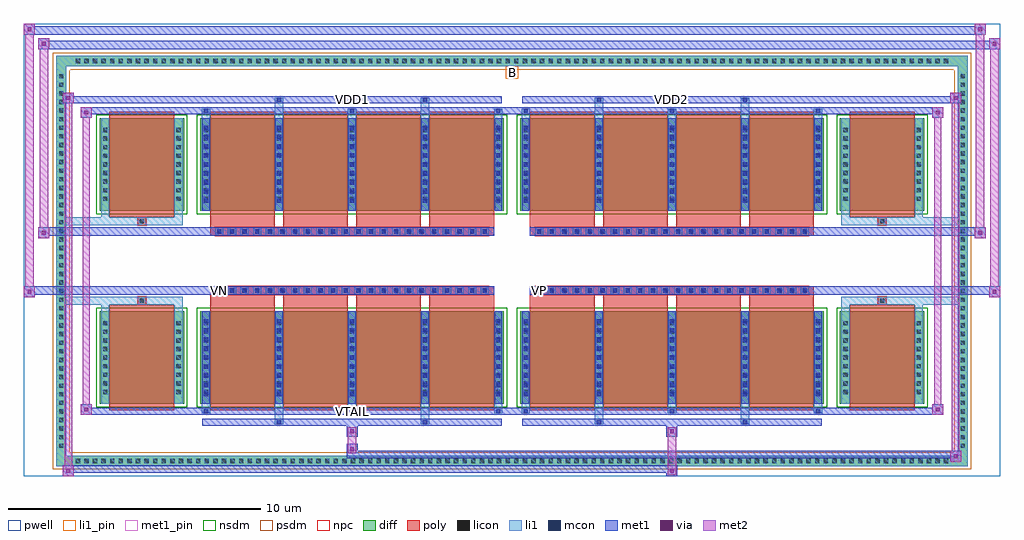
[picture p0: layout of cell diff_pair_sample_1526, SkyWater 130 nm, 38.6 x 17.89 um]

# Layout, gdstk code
import gdstk
lib = gdstk.Library(unit=1e-6, precision=5e-09)
def R(c, l, rs):  # rectangles x0, y0, x1, y1
    for r in rs: c.add(gdstk.rectangle(r[:2], r[2:], *l))
def A(c, l, x, y, w, h, nx, ny, dx, dy):  # array of equal rectangles
    R(c, l, [(x+i*dx, y+j*dy, x+i*dx+w, y+j*dy+h) for i in range(nx) for j in range(ny)])
def P(c, l, *ps):  # polygons
    for p in ps: c.add(gdstk.Polygon(p, *l))
pwell = (64, 44)
diff = (65, 20)
poly = (66, 20)
licon = (66, 44)
li1_pin = (67, 16)
li1 = (67, 20)
mcon = (67, 44)
met1_pin = (68, 16)
met1 = (68, 20)
via = (68, 44)
met2 = (69, 20)
nsdm = (93, 44)
psdm = (94, 20)
npc = (95, 20)

diff_pair_sample_1526 = lib.new_cell('diff_pair_sample_1526')
R(diff_pair_sample_1526, pwell, [(-19.3,-8.51,19.3,9.38), (-16.62,-6.7,-0.01,-0.8), (0.01,-6.7,16.62,-0.8), (-16.62,0.8,-0.01,6.7), (0.01,0.8,16.62,6.7)])
A(diff_pair_sample_1526, diff, -17.375, -8.11, 0.41, 0.41, 102, 2, 0.34, 15.81)
A(diff_pair_sample_1526, diff, -18.03, -7.515, 0.41, 0.41, 1, 44, 0, 0.34)
A(diff_pair_sample_1526, diff, 17.62, -7.515, 0.41, 0.41, 1, 44, 0, 0.34)
R(diff_pair_sample_1526, diff, [(-17.375,-8.11,17.375,-7.7), (-18.03,-7.515,-17.62,7.515), (17.62,-7.515,18.03,7.515), (-16.31,-5.655,-12.97,-1.985), (-12.33,-5.655,-0.32,-1.985), (0.32,-5.655,12.33,-1.985), (12.97,-5.655,16.31,-1.985), (-16.31,1.985,-12.97,5.655), (-12.33,1.985,-0.32,5.655), (0.32,1.985,12.33,5.655), (12.97,1.985,16.31,5.655), (-17.375,7.7,17.375,8.11)])
P(diff_pair_sample_1526, diff, [(18.03,8.11),(-18.03,8.11),(-18.03,-7.7),(-17.62,-7.7),(-17.62,7.7),(17.62,7.7),(17.62,-7.7),(-17.62,-7.7),(-18.03,-7.7),(-18.03,-8.11),(18.03,-8.11)])
A(diff_pair_sample_1526, poly, -11.94, -5.905, 2.56, 4.17, 4, 2, 2.89, 7.64)
A(diff_pair_sample_1526, poly, 0.71, -5.905, 2.56, 4.17, 4, 2, 2.89, 7.64)
A(diff_pair_sample_1526, poly, -11.94, -1.735, 2.56, 0.405, 4, 2, 2.89, 3.065)
A(diff_pair_sample_1526, poly, 0.71, -1.735, 2.56, 0.405, 4, 2, 2.89, 3.065)
A(diff_pair_sample_1526, poly, -11.74, -1.33, 0.33, 0.33, 22, 2, 0.5, 2.33)
A(diff_pair_sample_1526, poly, 0.91, -1.33, 0.33, 0.33, 22, 2, 0.5, 2.33)
R(diff_pair_sample_1526, poly, [(-15.92,-5.905,-13.36,-1.735), (13.36,-5.905,15.92,-1.735), (-14.805,-1.735,-14.475,-1.405), (-14.805,-1.735,-14.475,-1.405), (14.475,-1.735,14.805,-1.405), (14.475,-1.735,14.805,-1.405), (-11.94,-1.33,-0.71,-1), (0.71,-1.33,11.94,-1), (-11.94,1,-0.71,1.33), (0.71,1,11.94,1.33), (-14.805,1.405,-14.475,1.735), (-14.805,1.405,-14.475,1.735), (14.475,1.405,14.805,1.735), (14.475,1.405,14.805,1.735), (-15.92,1.735,-13.36,5.905), (13.36,1.735,15.92,5.905)])
A(diff_pair_sample_1526, licon, -17.255, -7.99, 0.17, 0.17, 102, 2, 0.34, 15.81)
A(diff_pair_sample_1526, licon, -17.91, -7.395, 0.17, 0.17, 1, 44, 0, 0.34)
A(diff_pair_sample_1526, licon, 17.74, -7.395, 0.17, 0.17, 1, 44, 0, 0.34)
A(diff_pair_sample_1526, licon, -16.17, -5.265, 0.17, 0.17, 1, 9, 0, 0.34)
A(diff_pair_sample_1526, licon, -13.28, -5.265, 0.17, 0.17, 1, 9, 0, 0.34)
A(diff_pair_sample_1526, licon, -12.19, -5.265, 0.17, 0.17, 5, 9, 2.89, 0.34)
A(diff_pair_sample_1526, licon, 0.46, -5.265, 0.17, 0.17, 5, 9, 2.89, 0.34)
A(diff_pair_sample_1526, licon, 13.11, -5.265, 0.17, 0.17, 1, 9, 0, 0.34)
A(diff_pair_sample_1526, licon, 16, -5.265, 0.17, 0.17, 1, 9, 0, 0.34)
A(diff_pair_sample_1526, licon, -11.66, -1.25, 0.17, 0.17, 22, 2, 0.5, 2.33)
A(diff_pair_sample_1526, licon, 0.99, -1.25, 0.17, 0.17, 22, 2, 0.5, 2.33)
A(diff_pair_sample_1526, licon, -16.17, 2.375, 0.17, 0.17, 1, 9, 0, 0.34)
A(diff_pair_sample_1526, licon, -13.28, 2.375, 0.17, 0.17, 1, 9, 0, 0.34)
A(diff_pair_sample_1526, licon, -12.19, 2.375, 0.17, 0.17, 5, 9, 2.89, 0.34)
A(diff_pair_sample_1526, licon, 0.46, 2.375, 0.17, 0.17, 5, 9, 2.89, 0.34)
A(diff_pair_sample_1526, licon, 13.11, 2.375, 0.17, 0.17, 1, 9, 0, 0.34)
A(diff_pair_sample_1526, licon, 16, 2.375, 0.17, 0.17, 1, 9, 0, 0.34)
R(diff_pair_sample_1526, licon, [(-14.725,-1.655,-14.555,-1.485), (14.555,-1.655,14.725,-1.485), (-14.725,1.485,-14.555,1.655), (14.555,1.485,14.725,1.655)])
R(diff_pair_sample_1526, li1_pin, [(-0.25,7.2,0.25,7.7)])
A(diff_pair_sample_1526, li1, -17.335, -8.07, 0.33, 0.33, 102, 2, 0.34, 15.81)
A(diff_pair_sample_1526, li1, -17.99, -7.475, 0.33, 0.33, 1, 44, 0, 0.34)
A(diff_pair_sample_1526, li1, 17.66, -7.475, 0.33, 0.33, 1, 44, 0, 0.34)
A(diff_pair_sample_1526, li1, -12.27, -6.03, 0.33, 0.375, 3, 2, 5.78, 11.685)
A(diff_pair_sample_1526, li1, -12.19, -6.03, 0.17, 0.17, 3, 2, 5.78, 11.89)
A(diff_pair_sample_1526, li1, 0.38, -6.03, 0.33, 0.375, 3, 2, 5.78, 11.685)
A(diff_pair_sample_1526, li1, 0.46, -6.03, 0.17, 0.17, 3, 2, 5.78, 11.89)
A(diff_pair_sample_1526, li1, -12.27, -5.655, 0.33, 3.67, 5, 2, 2.89, 7.64)
A(diff_pair_sample_1526, li1, 0.38, -5.655, 0.33, 3.67, 5, 2, 2.89, 7.64)
A(diff_pair_sample_1526, li1, -16.25, -5.345, 0.33, 0.33, 1, 9, 0, 0.34)
A(diff_pair_sample_1526, li1, -13.36, -5.345, 0.33, 0.33, 1, 9, 0, 0.34)
A(diff_pair_sample_1526, li1, -12.27, -5.345, 0.33, 0.33, 5, 9, 2.89, 0.34)
A(diff_pair_sample_1526, li1, -12.19, -5.345, 0.17, 0.17, 5, 9, 2.89, 0.36)
A(diff_pair_sample_1526, li1, -12.19, -5.345, 0.17, 3.05, 5, 2, 2.89, 7.64)
A(diff_pair_sample_1526, li1, 0.38, -5.345, 0.33, 0.33, 5, 9, 2.89, 0.34)
A(diff_pair_sample_1526, li1, 0.46, -5.345, 0.17, 0.17, 5, 9, 2.89, 0.36)
A(diff_pair_sample_1526, li1, 0.46, -5.345, 0.17, 3.05, 5, 2, 2.89, 7.64)
A(diff_pair_sample_1526, li1, 13.03, -5.345, 0.33, 0.33, 1, 9, 0, 0.34)
A(diff_pair_sample_1526, li1, 15.92, -5.345, 0.33, 0.33, 1, 9, 0, 0.34)
A(diff_pair_sample_1526, li1, -11.74, -1.33, 0.33, 0.33, 22, 2, 0.5, 2.33)
A(diff_pair_sample_1526, li1, 0.91, -1.33, 0.33, 0.33, 22, 2, 0.5, 2.33)
A(diff_pair_sample_1526, li1, -16.25, 2.295, 0.33, 0.33, 1, 9, 0, 0.34)
A(diff_pair_sample_1526, li1, -13.36, 2.295, 0.33, 0.33, 1, 9, 0, 0.34)
A(diff_pair_sample_1526, li1, -12.27, 2.295, 0.33, 0.33, 5, 9, 2.89, 0.34)
A(diff_pair_sample_1526, li1, -12.19, 2.295, 0.17, 0.17, 5, 9, 2.89, 0.36)
A(diff_pair_sample_1526, li1, 0.38, 2.295, 0.33, 0.33, 5, 9, 2.89, 0.34)
A(diff_pair_sample_1526, li1, 0.46, 2.295, 0.17, 0.17, 5, 9, 2.89, 0.36)
A(diff_pair_sample_1526, li1, 13.03, 2.295, 0.33, 0.33, 1, 9, 0, 0.34)
A(diff_pair_sample_1526, li1, 15.92, 2.295, 0.33, 0.33, 1, 9, 0, 0.34)
R(diff_pair_sample_1526, li1, [(-18.03,-8.11,-17.62,-7.7), (-18.03,-8.11,-17.62,-7.7), (-17.62,-8.11,17.62,-7.7), (17.62,-8.11,18.03,-7.7), (17.62,-8.11,18.03,-7.7), (-18.03,-7.7,-17.62,7.7), (17.62,-7.7,18.03,7.7), (-9.38,-6.46,-9.05,-5.655), (-9.3,-6.46,-9.13,-6.29), (-3.6,-6.46,-3.27,-5.655), (-3.52,-6.46,-3.35,-6.29), (3.27,-6.46,3.6,-5.655), (3.35,-6.46,3.52,-6.29), (9.05,-6.46,9.38,-5.655), (9.13,-6.46,9.3,-6.29), (-16.25,-5.655,-15.92,-1.985), (-13.36,-5.655,-13.03,-1.985), (13.03,-5.655,13.36,-1.985), (15.92,-5.655,16.25,-1.985), (-16.25,-1.985,-15.92,-1.405), (-13.36,-1.985,-13.03,-1.405), (13.03,-1.985,13.36,-1.405), (15.92,-1.985,16.25,-1.405), (-18.03,-1.735,-14.805,-1.405), (-16.25,-1.735,-14.805,-1.405), (-14.805,-1.735,-14.475,-1.405), (-14.475,-1.735,-13.03,-1.405), (13.03,-1.735,14.475,-1.405), (14.475,-1.735,14.805,-1.405), (14.475,-1.735,18.03,-1.405), (14.805,-1.735,16.25,-1.405), (-18.03,1.405,-14.805,1.735), (-16.25,1.405,-14.805,1.735), (-16.25,1.405,-15.92,1.985), (-14.805,1.405,-14.475,1.735), (-14.475,1.405,-13.03,1.735), (-13.36,1.405,-13.03,1.985), (13.03,1.405,14.475,1.735), (13.03,1.405,13.36,1.985), (14.475,1.405,14.805,1.735), (14.475,1.405,18.03,1.735), (14.805,1.405,16.25,1.735), (15.92,1.405,16.25,1.985), (-16.25,1.985,-15.92,5.655), (-13.36,1.985,-13.03,5.655), (13.03,1.985,13.36,5.655), (15.92,1.985,16.25,5.655), (-9.38,5.655,-9.05,6.46), (-3.6,5.655,-3.27,6.46), (3.27,5.655,3.6,6.46), (9.05,5.655,9.38,6.46), (-9.3,6.29,-9.13,6.46), (-3.52,6.29,-3.35,6.46), (3.35,6.29,3.52,6.46), (9.13,6.29,9.3,6.46), (-18.03,7.7,-17.62,8.11), (-18.03,7.7,-17.62,8.11), (-17.62,7.7,17.62,8.11), (17.62,7.7,18.03,8.11), (17.62,7.7,18.03,8.11)])
A(diff_pair_sample_1526, mcon, -12.19, -6.03, 0.17, 0.17, 3, 2, 5.78, 11.89)
A(diff_pair_sample_1526, mcon, 0.46, -6.03, 0.17, 0.17, 3, 2, 5.78, 11.89)
A(diff_pair_sample_1526, mcon, -12.19, -5.345, 0.17, 0.17, 5, 9, 2.89, 0.36)
A(diff_pair_sample_1526, mcon, 0.46, -5.345, 0.17, 0.17, 5, 9, 2.89, 0.36)
A(diff_pair_sample_1526, mcon, -11.66, -1.25, 0.17, 0.17, 22, 2, 0.5, 2.33)
A(diff_pair_sample_1526, mcon, 0.99, -1.25, 0.17, 0.17, 22, 2, 0.5, 2.33)
A(diff_pair_sample_1526, mcon, -12.19, 2.295, 0.17, 0.17, 5, 9, 2.89, 0.36)
A(diff_pair_sample_1526, mcon, 0.46, 2.295, 0.17, 0.17, 5, 9, 2.89, 0.36)
R(diff_pair_sample_1526, mcon, [(-9.3,-6.46,-9.13,-6.29), (-3.52,-6.46,-3.35,-6.29), (3.35,-6.46,3.52,-6.29), (9.13,-6.46,9.3,-6.29), (-9.3,6.29,-9.13,6.46), (-3.52,6.29,-3.35,6.46), (3.35,6.29,3.52,6.46), (9.13,6.29,9.3,6.46)])
R(diff_pair_sample_1526, met1_pin, [(-6.46,-6.07,-6.19,-5.8), (-11.71,-1.29,-11.44,-1.02), (0.94,-1.29,1.21,-1.02), (-6.46,6.25,-6.19,6.52), (6.19,6.25,6.46,6.52)])
A(diff_pair_sample_1526, met1, -12.25, -6.09, 0.29, 0.29, 3, 2, 5.78, 11.89)
A(diff_pair_sample_1526, met1, 0.4, -6.09, 0.29, 0.29, 3, 2, 5.78, 11.89)
A(diff_pair_sample_1526, met1, -12.25, -5.655, 0.29, 3.67, 5, 2, 2.89, 7.64)
A(diff_pair_sample_1526, met1, 0.4, -5.655, 0.29, 3.67, 5, 2, 2.89, 7.64)
A(diff_pair_sample_1526, met1, -12.25, -5.405, 0.29, 0.29, 5, 9, 2.89, 0.36)
A(diff_pair_sample_1526, met1, 0.4, -5.405, 0.29, 0.29, 5, 9, 2.89, 0.36)
A(diff_pair_sample_1526, met1, -11.72, -1.31, 0.29, 0.29, 22, 2, 0.5, 2.33)
A(diff_pair_sample_1526, met1, 0.93, -1.31, 0.29, 0.29, 22, 2, 0.5, 2.33)
A(diff_pair_sample_1526, met1, -12.25, 2.235, 0.29, 0.29, 5, 9, 2.89, 0.36)
A(diff_pair_sample_1526, met1, 0.4, 2.235, 0.29, 0.29, 5, 9, 2.89, 0.36)
R(diff_pair_sample_1526, met1, [(-17.76,-8.51,-17.33,-8.08), (6.11,-8.51,6.54,-8.08), (-17.76,-8.37,6.54,-8.08), (17.33,-7.94,17.76,-7.51), (-6.54,-7.8,17.76,-7.51), (-6.54,-7.66,-6.11,-7.23), (-6.54,-6.95,-6.11,-6.52), (6.11,-6.95,6.54,-6.52), (-12.25,-6.52,-0.4,-6.23), (-9.36,-6.52,-9.07,-6.23), (-3.58,-6.52,-3.29,-6.23), (0.4,-6.52,12.25,-6.23), (3.29,-6.52,3.58,-6.23), (9.07,-6.52,9.36,-6.23), (-17.05,-6.09,-16.62,-5.66), (-17.05,-6.09,-12.25,-5.8), (-12.25,-6.09,-0.4,-5.8), (-0.4,-6.09,0.4,-5.8), (0.4,-6.09,12.25,-5.8), (12.25,-6.09,17.05,-5.8), (16.62,-6.09,17.05,-5.66), (-19.3,-1.43,-18.87,-1), (18.87,-1.43,19.3,-1), (-19.3,-1.33,-0.71,-1), (-11.94,-1.33,-0.71,-1), (0.71,-1.33,11.94,-1), (0.71,-1.33,19.3,-1), (-18.73,0.9,-18.3,1.33), (18.3,0.9,18.73,1.33), (-18.73,1,-11.94,1.33), (-11.94,1,-0.71,1.33), (0.71,1,11.94,1.33), (11.94,1,18.73,1.33), (-17.05,5.66,-16.62,6.09), (16.62,5.66,17.05,6.09), (-17.05,5.8,-12.25,6.09), (-12.25,5.8,-0.4,6.09), (-0.4,5.8,0.4,6.09), (0.4,5.8,12.25,6.09), (12.25,5.8,17.05,6.09), (-17.76,6.23,-17.33,6.66), (-17.76,6.23,-12.25,6.52), (-12.25,6.23,-0.4,6.52), (-9.36,6.23,-9.07,6.52), (-3.58,6.23,-3.29,6.52), (0.4,6.23,12.25,6.52), (3.29,6.23,3.58,6.52), (9.07,6.23,9.36,6.52), (12.25,6.23,17.76,6.52), (17.33,6.23,17.76,6.66), (-18.73,8.38,-18.3,8.81), (-18.73,8.38,-16.62,8.71), (-16.62,8.38,16.62,8.71), (16.62,8.38,19.3,8.71), (18.87,8.38,19.3,8.81), (-19.3,8.95,-18.87,9.38), (-19.3,8.95,-16.62,9.28), (-16.62,8.95,16.62,9.28), (16.62,8.95,18.73,9.28), (18.3,8.95,18.73,9.38)])
R(diff_pair_sample_1526, via, [(-17.62,-8.37,-17.47,-8.22), (6.25,-8.37,6.4,-8.22), (17.47,-7.8,17.62,-7.65), (-6.4,-7.52,-6.25,-7.37), (-6.4,-6.81,-6.25,-6.66), (6.25,-6.81,6.4,-6.66), (-16.91,-5.95,-16.76,-5.8), (16.76,-5.95,16.91,-5.8), (-19.16,-1.29,-19.01,-1.14), (19.01,-1.29,19.16,-1.14), (-18.59,1.04,-18.44,1.19), (18.44,1.04,18.59,1.19), (-16.91,5.8,-16.76,5.95), (16.76,5.8,16.91,5.95), (-17.62,6.37,-17.47,6.52), (17.47,6.37,17.62,6.52), (-18.59,8.52,-18.44,8.67), (19.01,8.52,19.16,8.67), (-19.16,9.09,-19.01,9.24), (18.44,9.09,18.59,9.24)])
R(diff_pair_sample_1526, met2, [(-17.76,-8.51,-17.33,-8.08), (-17.69,-8.51,-17.4,6.66), (-17.4,-8.51,-17.33,-8.08), (-17.71,-8.46,-17.38,-8.13), (6.16,-8.46,6.49,-8.13), (6.16,-8.13,6.49,-6.9), (17.33,-7.94,17.76,-7.51), (17.4,-7.94,17.69,6.66), (17.69,-7.94,17.76,-7.51), (17.38,-7.89,17.71,-7.56), (-6.49,-7.61,-6.16,-7.28), (-6.49,-7.28,-6.16,-6.9), (-6.49,-6.9,-6.16,-6.57), (6.16,-6.9,6.49,-6.57), (-17.05,-6.09,-16.62,-5.66), (-16.98,-6.09,-16.69,6.09), (-16.69,-6.09,-16.62,-5.66), (16.62,-6.09,17.05,-5.66), (16.69,-6.09,16.98,6.09), (16.98,-6.09,17.05,-5.66), (-17,-6.04,-16.67,-5.71), (16.67,-6.04,17,-5.71), (-19.3,-1.43,-18.87,-1), (-19.25,-1.43,-18.92,9.38), (-18.92,-1.43,-18.87,-1), (18.87,-1.43,19.3,-1), (18.92,-1.43,19.25,8.81), (19.25,-1.43,19.3,-1), (-19.25,-1.38,-18.92,-1.05), (18.92,-1.38,19.25,-1.05), (-18.73,0.9,-18.3,1.33), (-18.68,0.9,-18.35,8.81), (-18.35,0.9,-18.3,1.33), (18.3,0.9,18.73,1.33), (18.35,0.9,18.68,9.38), (18.68,0.9,18.73,1.33), (-18.68,0.95,-18.35,1.28), (18.35,0.95,18.68,1.28), (-17.05,5.66,-16.62,6.09), (-16.69,5.66,-16.62,6.09), (16.62,5.66,17.05,6.09), (16.98,5.66,17.05,6.09), (-17,5.71,-16.67,6.04), (16.67,5.71,17,6.04), (-17.76,6.23,-17.33,6.66), (-17.4,6.23,-17.33,6.66), (17.33,6.23,17.76,6.66), (17.69,6.23,17.76,6.66), (-17.71,6.28,-17.38,6.61), (17.38,6.28,17.71,6.61), (-18.73,8.38,-18.3,8.81), (-18.35,8.38,-18.3,8.81), (18.87,8.38,19.3,8.81), (19.25,8.38,19.3,8.81), (-18.68,8.43,-18.35,8.76), (18.92,8.43,19.25,8.76), (-19.3,8.95,-18.87,9.38), (-18.92,8.95,-18.87,9.38), (18.3,8.95,18.73,9.38), (18.68,8.95,18.73,9.38), (-19.25,9,-18.92,9.33), (18.35,9,18.68,9.33)])
R(diff_pair_sample_1526, nsdm, [(-16.44,-5.785,-12.84,-1.855), (-12.46,-5.785,-0.19,-1.855), (0.19,-5.785,12.46,-1.855), (12.84,-5.785,16.44,-1.855), (-16.44,1.855,-12.84,5.785), (-12.46,1.855,-0.19,5.785), (0.19,1.855,12.46,5.785), (12.84,1.855,16.44,5.785)])
P(diff_pair_sample_1526, psdm, [(18.16,8.24),(-18.16,8.24),(-18.16,-7.57),(-17.49,-7.57),(-17.49,7.57),(17.49,7.57),(17.49,-7.57),(-17.49,-7.57),(-18.16,-7.57),(-18.16,-8.24),(18.16,-8.24)])
A(diff_pair_sample_1526, npc, -11.76, -1.35, 0.37, 0.37, 22, 2, 0.5, 2.33)
A(diff_pair_sample_1526, npc, 0.89, -1.35, 0.37, 0.37, 22, 2, 0.5, 2.33)
R(diff_pair_sample_1526, npc, [(-14.825,-1.755,-14.455,-1.385), (14.455,-1.755,14.825,-1.385), (-11.76,-1.35,-10.89,-0.98), (-11.76,-1.35,-10.89,-0.98), (-11.26,-1.35,-10.39,-0.98), (-11.26,-1.35,-10.39,-0.98), (-10.76,-1.35,-9.89,-0.98), (-10.76,-1.35,-9.89,-0.98), (-10.26,-1.35,-9.39,-0.98), (-10.26,-1.35,-9.39,-0.98), (-9.76,-1.35,-8.89,-0.98), (-9.76,-1.35,-8.89,-0.98), (-9.26,-1.35,-8.39,-0.98), (-9.26,-1.35,-8.39,-0.98), (-8.76,-1.35,-7.89,-0.98), (-8.76,-1.35,-7.89,-0.98), (-8.26,-1.35,-7.39,-0.98), (-8.26,-1.35,-7.39,-0.98), (-7.76,-1.35,-6.89,-0.98), (-7.76,-1.35,-6.89,-0.98), (-7.26,-1.35,-6.39,-0.98), (-7.26,-1.35,-6.39,-0.98), (-6.76,-1.35,-5.89,-0.98), (-6.76,-1.35,-5.89,-0.98), (-6.26,-1.35,-5.39,-0.98), (-6.26,-1.35,-5.39,-0.98), (-5.76,-1.35,-4.89,-0.98), (-5.76,-1.35,-4.89,-0.98), (-5.26,-1.35,-4.39,-0.98), (-5.26,-1.35,-4.39,-0.98), (-4.76,-1.35,-3.89,-0.98), (-4.76,-1.35,-3.89,-0.98), (-4.26,-1.35,-3.39,-0.98), (-4.26,-1.35,-3.39,-0.98), (-3.76,-1.35,-2.89,-0.98), (-3.76,-1.35,-2.89,-0.98), (-3.26,-1.35,-2.39,-0.98), (-3.26,-1.35,-2.39,-0.98), (-2.76,-1.35,-1.89,-0.98), (-2.76,-1.35,-1.89,-0.98), (-2.26,-1.35,-1.39,-0.98), (-2.26,-1.35,-1.39,-0.98), (-1.76,-1.35,-0.89,-0.98), (-1.76,-1.35,-0.89,-0.98), (0.89,-1.35,1.76,-0.98), (0.89,-1.35,1.76,-0.98), (1.39,-1.35,2.26,-0.98), (1.39,-1.35,2.26,-0.98), (1.89,-1.35,2.76,-0.98), (1.89,-1.35,2.76,-0.98), (2.39,-1.35,3.26,-0.98), (2.39,-1.35,3.26,-0.98), (2.89,-1.35,3.76,-0.98), (2.89,-1.35,3.76,-0.98), (3.39,-1.35,4.26,-0.98), (3.39,-1.35,4.26,-0.98), (3.89,-1.35,4.76,-0.98), (3.89,-1.35,4.76,-0.98), (4.39,-1.35,5.26,-0.98), (4.39,-1.35,5.26,-0.98), (4.89,-1.35,5.76,-0.98), (4.89,-1.35,5.76,-0.98), (5.39,-1.35,6.26,-0.98), (5.39,-1.35,6.26,-0.98), (5.89,-1.35,6.76,-0.98), (5.89,-1.35,6.76,-0.98), (6.39,-1.35,7.26,-0.98), (6.39,-1.35,7.26,-0.98), (6.89,-1.35,7.76,-0.98), (6.89,-1.35,7.76,-0.98), (7.39,-1.35,8.26,-0.98), (7.39,-1.35,8.26,-0.98), (7.89,-1.35,8.76,-0.98), (7.89,-1.35,8.76,-0.98), (8.39,-1.35,9.26,-0.98), (8.39,-1.35,9.26,-0.98), (8.89,-1.35,9.76,-0.98), (8.89,-1.35,9.76,-0.98), (9.39,-1.35,10.26,-0.98), (9.39,-1.35,10.26,-0.98), (9.89,-1.35,10.76,-0.98), (9.89,-1.35,10.76,-0.98), (10.39,-1.35,11.26,-0.98), (10.39,-1.35,11.26,-0.98), (10.89,-1.35,11.76,-0.98), (10.89,-1.35,11.76,-0.98), (-11.76,0.98,-10.89,1.35), (-11.76,0.98,-10.89,1.35), (-11.26,0.98,-10.39,1.35), (-11.26,0.98,-10.39,1.35), (-10.76,0.98,-9.89,1.35), (-10.76,0.98,-9.89,1.35), (-10.26,0.98,-9.39,1.35), (-10.26,0.98,-9.39,1.35), (-9.76,0.98,-8.89,1.35), (-9.76,0.98,-8.89,1.35), (-9.26,0.98,-8.39,1.35), (-9.26,0.98,-8.39,1.35), (-8.76,0.98,-7.89,1.35), (-8.76,0.98,-7.89,1.35), (-8.26,0.98,-7.39,1.35), (-8.26,0.98,-7.39,1.35), (-7.76,0.98,-6.89,1.35), (-7.76,0.98,-6.89,1.35), (-7.26,0.98,-6.39,1.35), (-7.26,0.98,-6.39,1.35), (-6.76,0.98,-5.89,1.35), (-6.76,0.98,-5.89,1.35), (-6.26,0.98,-5.39,1.35), (-6.26,0.98,-5.39,1.35), (-5.76,0.98,-4.89,1.35), (-5.76,0.98,-4.89,1.35), (-5.26,0.98,-4.39,1.35), (-5.26,0.98,-4.39,1.35), (-4.76,0.98,-3.89,1.35), (-4.76,0.98,-3.89,1.35), (-4.26,0.98,-3.39,1.35), (-4.26,0.98,-3.39,1.35), (-3.76,0.98,-2.89,1.35), (-3.76,0.98,-2.89,1.35), (-3.26,0.98,-2.39,1.35), (-3.26,0.98,-2.39,1.35), (-2.76,0.98,-1.89,1.35), (-2.76,0.98,-1.89,1.35), (-2.26,0.98,-1.39,1.35), (-2.26,0.98,-1.39,1.35), (-1.76,0.98,-0.89,1.35), (-1.76,0.98,-0.89,1.35), (0.89,0.98,1.76,1.35), (0.89,0.98,1.76,1.35), (1.39,0.98,2.26,1.35), (1.39,0.98,2.26,1.35), (1.89,0.98,2.76,1.35), (1.89,0.98,2.76,1.35), (2.39,0.98,3.26,1.35), (2.39,0.98,3.26,1.35), (2.89,0.98,3.76,1.35), (2.89,0.98,3.76,1.35), (3.39,0.98,4.26,1.35), (3.39,0.98,4.26,1.35), (3.89,0.98,4.76,1.35), (3.89,0.98,4.76,1.35), (4.39,0.98,5.26,1.35), (4.39,0.98,5.26,1.35), (4.89,0.98,5.76,1.35), (4.89,0.98,5.76,1.35), (5.39,0.98,6.26,1.35), (5.39,0.98,6.26,1.35), (5.89,0.98,6.76,1.35), (5.89,0.98,6.76,1.35), (6.39,0.98,7.26,1.35), (6.39,0.98,7.26,1.35), (6.89,0.98,7.76,1.35), (6.89,0.98,7.76,1.35), (7.39,0.98,8.26,1.35), (7.39,0.98,8.26,1.35), (7.89,0.98,8.76,1.35), (7.89,0.98,8.76,1.35), (8.39,0.98,9.26,1.35), (8.39,0.98,9.26,1.35), (8.89,0.98,9.76,1.35), (8.89,0.98,9.76,1.35), (9.39,0.98,10.26,1.35), (9.39,0.98,10.26,1.35), (9.89,0.98,10.76,1.35), (9.89,0.98,10.76,1.35), (10.39,0.98,11.26,1.35), (10.39,0.98,11.26,1.35), (10.89,0.98,11.76,1.35), (10.89,0.98,11.76,1.35), (-14.825,1.385,-14.455,1.755), (14.455,1.385,14.825,1.755)])
diff_pair_sample_1526.add(gdstk.Label('VTAIL', (-6.325,-5.935), layer=68, texttype=5))
diff_pair_sample_1526.add(gdstk.Label('VN', (-11.575,-1.155), layer=68, texttype=5))
diff_pair_sample_1526.add(gdstk.Label('VP', (1.075,-1.155), layer=68, texttype=5))
diff_pair_sample_1526.add(gdstk.Label('B', (0,7.45), layer=67, texttype=5))
diff_pair_sample_1526.add(gdstk.Label('VDD2', (6.325,6.385), layer=68, texttype=5))
diff_pair_sample_1526.add(gdstk.Label('VDD1', (-6.325,6.385), layer=68, texttype=5))

lib.write_gds('diff_pair_sample_1526.gds')
